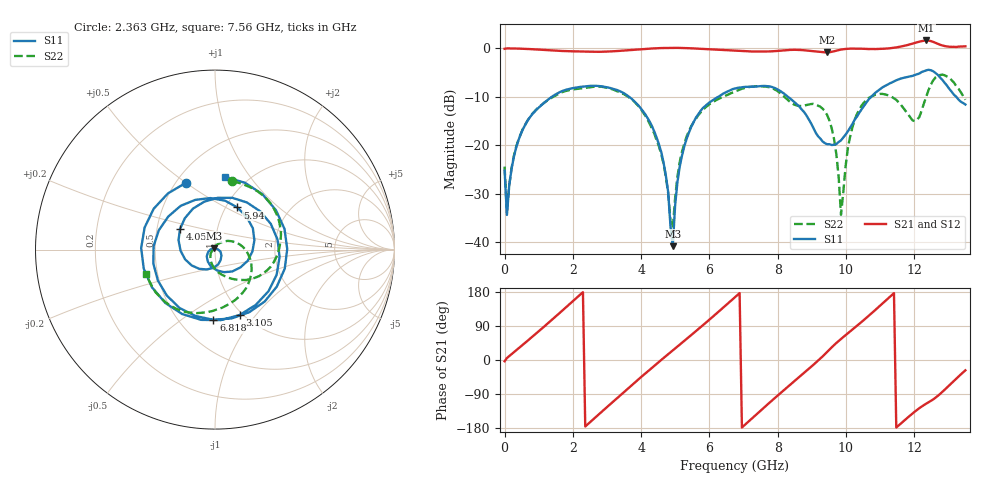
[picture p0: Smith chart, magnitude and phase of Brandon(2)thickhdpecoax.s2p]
!Agilent Technologies,N5230C,MY48100320,A.08.04.10
!Agilent N5230C: A.08.04.10
!Date: Thursday, July 07, 2016 05:13:48
!Correction: S11(Full 2 Port(1,2))
!S21(Full 2 Port(1,2))
!S12(Full 2 Port(1,2))
!S22(Full 2 Port(1,2))
!S2P File: Measurements: S11, S21, S12, S22:
# Hz S  dB  R 50
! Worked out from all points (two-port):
!   201 points, 300 kHz to 13.5 GHz, reference 50 ohm
!   highest |S21| = 1.65 dB at 12.35 GHz (marker M1); lowest = -0.8 dB at 9.45 GHz (marker M2)
!   |S21| within 3 dB of the highest: start of sweep to end of sweep
!   lowest |S11| = -40.8 dB at 4.928 GHz (marker M3), VSWR 1.02, Z = 49.5 + j0.774 ohm
!   |S11| at or under -10 dB: start of sweep to 1.381 GHz; 3.65 GHz to 6.258 GHz (2.608 GHz wide, 52.6 % of centre); 8.303 GHz to 10.74 GHz (2.438 GHz wide, 25.6 % of centre)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
!   |S22| runs from -37.1 to -5.4 dB; largest |S21 - S12| = 0.0038
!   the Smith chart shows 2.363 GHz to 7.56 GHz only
!   S11 on the Smith chart (normalised r, x): 2.363 GHz: 0.56, +0.50; 3.105 GHz: 0.97, -0.83; 4.05 GHz: 0.66, +0.16; 5.94 GHz: 1.13, +0.57; 6.818 GHz: 0.72, -0.67; 7.56 GHz: 0.79, +0.77
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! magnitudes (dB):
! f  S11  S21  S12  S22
! 300 kHz  -25.2  -0.1  -0.1  -24.4
! 67.8 MHz  -34.4  0.0  0.0  -34.1
! 675.3 MHz  -14.9  -0.1  -0.1  -14.8
! 2.295 GHz  -7.9  -0.6  -0.6  -8.2
! 2.363 GHz  -7.8  -0.6  -0.6  -8.1
! 3.105 GHz  -8.2  -0.6  -0.6  -8.3
! 4.05 GHz  -12.9  -0.1  -0.1  -13.1
! 4.523 GHz  -19.8  0.0  0.1  -20.2
! 4.928 GHz  -40.8  0.1  0.1  -37.1
! 5.198 GHz  -22.1  0.1  0.1  -21.3
! 5.94 GHz  -11.5  -0.2  -0.2  -11.9
! 6.75 GHz  -8.3  -0.5  -0.5  -8.9
! 6.818 GHz  -8.2  -0.5  -0.5  -8.7
! 7.56 GHz  -7.7  -0.7  -0.6  -7.8
! 9.045 GHz  -16.4  -0.6  -0.6  -11.5
! 9.45 GHz  -19.8  -0.8  -0.8  -13.8
! 9.72 GHz  -19.7  -0.5  -0.5  -21.9
! 9.855 GHz  -19.0  -0.2  -0.2  -34.4
! 10.26 GHz  -14.7  0.0  0.0  -14.6
! 11.27 GHz  -7.3  0.0  0.0  -9.7
! 12.35 GHz  -4.5  1.6  1.6  -10.0
! 13.5 GHz  -11.6  0.4  0.4  -10.6
